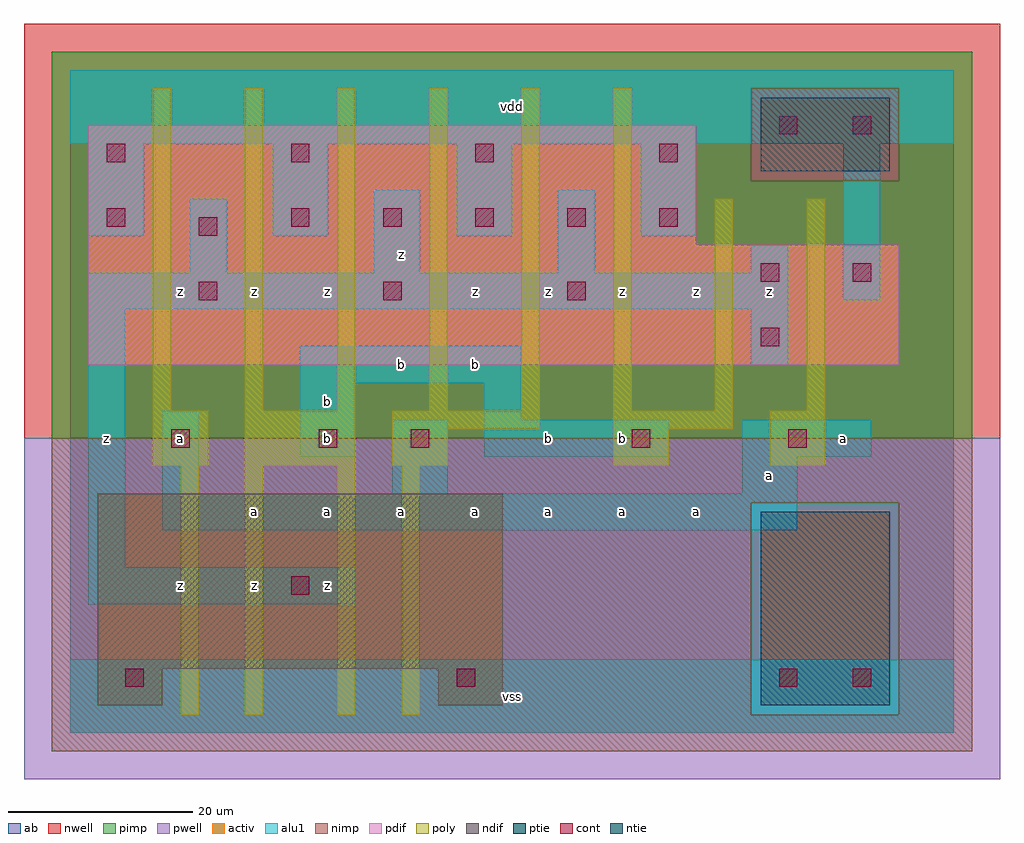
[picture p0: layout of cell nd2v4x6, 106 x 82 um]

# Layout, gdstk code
import gdstk
lib = gdstk.Library(unit=1e-6, precision=1e-09)
def R(c, l, rs):  # rectangles x0, y0, x1, y1
    for r in rs: c.add(gdstk.rectangle(r[:2], r[2:], *l))
def A(c, l, x, y, w, h, nx, ny, dx, dy):  # array of equal rectangles
    R(c, l, [(x+i*dx, y+j*dy, x+i*dx+w, y+j*dy+h) for i in range(nx) for j in range(ny)])
ndif = (3, 0)
pdif = (4, 0)
ntie = (5, 0)
ptie = (6, 0)
cont = (25, 0)
pwell = (41, 0)
nwell = (42, 0)
activ = (43, 0)
pimp = (44, 0)
nimp = (45, 0)
poly = (46, 0)
alu1 = (49, 0)
ab = (63, 0)

nd2v4x6 = lib.new_cell('nd2v4x6')
R(nd2v4x6, ndif, [(3,3,10,7), (40,3,47,7), (3,7,47,26)])
R(nd2v4x6, pdif, [(2,40,90,53), (2,53,68,66)])
R(nd2v4x6, ntie, [(75,61,89,69)])
R(nd2v4x6, ptie, [(75,3,89,24)])
A(nd2v4x6, cont, 14, 47, 2, 2, 3, 1, 20, 0)
A(nd2v4x6, cont, 24, 55, 2, 2, 5, 1, 10, 0)
A(nd2v4x6, cont, 4, 62, 2, 2, 4, 1, 20, 0)
R(nd2v4x6, cont, [(6,5,8,7), (42,5,44,7), (77,5,79,7), (85,5,87,7), (24,15,26,17), (11,31,13,33), (27,31,29,33), (37,31,39,33), (61,31,63,33), (78,31,80,33), (75,42,77,44), (75,49,77,51), (85,49,87,51), (14,54,16,56), (4,55,6,57), (77,65,79,67), (85,65,87,67)])
R(nd2v4x6, pwell, [(-5,-5,101,32)])
R(nd2v4x6, nwell, [(-5,32,101,77)])
R(nd2v4x6, activ, [(3,3,10,7), (40,3,47,7), (75,3,89,24), (3,7,47,26), (2,40,90,53), (2,53,68,66), (75,61,89,69)])
R(nd2v4x6, pimp, [(74,2,90,25), (-2,32,98,60), (-2,60,74,70), (90,60,98,70), (-2,70,98,74)])
R(nd2v4x6, nimp, [(-2,-2,98,2), (-2,2,74,25), (90,2,98,25), (-2,25,98,32), (74,60,90,70)])
A(nd2v4x6, poly, 9, 35, 2, 35, 6, 1, 10, 0)
R(nd2v4x6, poly, [(12,2,14,29), (19,2,21,29), (29,2,31,29), (36,2,38,29), (9,29,15,35), (19,29,31,35), (35,29,41,33), (59,29,65,33), (76,29,82,35), (35,33,51,35), (59,33,72,35), (70,35,72,58), (80,35,82,58)])
A(nd2v4x6, alu1, 2, 54, 6, 10, 4, 1, 20, 0)
R(nd2v4x6, alu1, [(0,0,96,8), (2,14,31,18), (2,18,6,46), (10,22,79,26), (10,26,14,35), (35,26,41,34), (73,26,79,30), (25,30,31,38), (45,30,65,34), (73,30,87,34), (45,34,49,38), (25,38,49,42), (74,40,78,46), (2,46,78,50), (84,47,88,64), (13,50,17,58), (33,50,38,59), (53,50,57,59), (74,50,78,53), (0,64,96,72)])
R(nd2v4x6, ab, [(0,0,96,72)])
nd2v4x6.add(gdstk.Label('z', (12,16), layer=49, texttype=0))
nd2v4x6.add(gdstk.Label('a', (12,32), layer=49, texttype=0))
nd2v4x6.add(gdstk.Label('z', (4,32), layer=49, texttype=0))
nd2v4x6.add(gdstk.Label('z', (12,48), layer=49, texttype=0))
nd2v4x6.add(gdstk.Label('z', (28,16), layer=49, texttype=0))
nd2v4x6.add(gdstk.Label('z', (20,16), layer=49, texttype=0))
nd2v4x6.add(gdstk.Label('a', (20,24), layer=49, texttype=0))
nd2v4x6.add(gdstk.Label('a', (28,24), layer=49, texttype=0))
nd2v4x6.add(gdstk.Label('b', (28,32), layer=49, texttype=0))
nd2v4x6.add(gdstk.Label('b', (28,36), layer=49, texttype=0))
nd2v4x6.add(gdstk.Label('z', (20,48), layer=49, texttype=0))
nd2v4x6.add(gdstk.Label('z', (28,48), layer=49, texttype=0))
nd2v4x6.add(gdstk.Label('vss', (48,4), layer=49, texttype=0))
nd2v4x6.add(gdstk.Label('a', (36,24), layer=49, texttype=0))
nd2v4x6.add(gdstk.Label('a', (44,24), layer=49, texttype=0))
nd2v4x6.add(gdstk.Label('a', (52,24), layer=49, texttype=0))
nd2v4x6.add(gdstk.Label('b', (52,32), layer=49, texttype=0))
nd2v4x6.add(gdstk.Label('b', (36,40), layer=49, texttype=0))
nd2v4x6.add(gdstk.Label('b', (44,40), layer=49, texttype=0))
nd2v4x6.add(gdstk.Label('z', (36,52), layer=49, texttype=0))
nd2v4x6.add(gdstk.Label('z', (44,48), layer=49, texttype=0))
nd2v4x6.add(gdstk.Label('z', (52,48), layer=49, texttype=0))
nd2v4x6.add(gdstk.Label('vdd', (48,68), layer=49, texttype=0))
nd2v4x6.add(gdstk.Label('a', (60,24), layer=49, texttype=0))
nd2v4x6.add(gdstk.Label('a', (68,24), layer=49, texttype=0))
nd2v4x6.add(gdstk.Label('a', (76,28), layer=49, texttype=0))
nd2v4x6.add(gdstk.Label('b', (60,32), layer=49, texttype=0))
nd2v4x6.add(gdstk.Label('z', (60,48), layer=49, texttype=0))
nd2v4x6.add(gdstk.Label('z', (68,48), layer=49, texttype=0))
nd2v4x6.add(gdstk.Label('z', (76,48), layer=49, texttype=0))
nd2v4x6.add(gdstk.Label('a', (84,32), layer=49, texttype=0))

lib.write_gds('nd2v4x6.gds')
